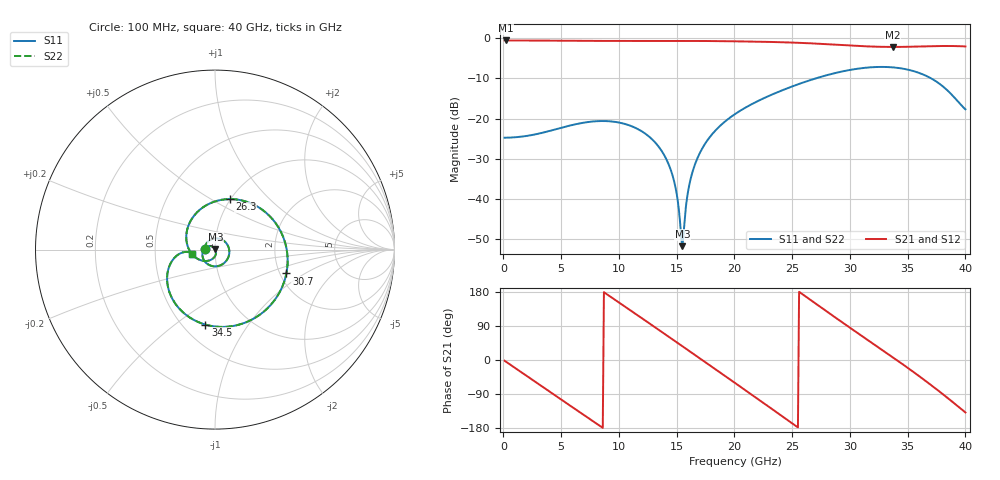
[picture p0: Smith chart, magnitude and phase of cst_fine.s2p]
! C_s8_ap1200: L1→L8, antipad Ø1.2 on every plane
! stackup: 8-layer 1.6 mm FR-4 (generic)
! ports: 1, 2
! CST Studio Suite 2025.5 Release from 2025-05-30, time domain (FIT, hexahedral, PBA), 386496 mesh cells, 72 s
! mesh: {'lpw': 30.0, 'lpb': 30.0, 'minstep': 0.0, 'ratio': 20}; ports: port 1 (face); port 2 (face)
! interpolated from CST's 1001 samples to the case grid
# Hz S RI R 50
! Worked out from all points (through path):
!   400 points, 100 MHz to 40 GHz, reference 50 ohm
!   highest |S21| = -0.52 dB at 200 MHz (marker M1); lowest = -2.1 dB at 33.7 GHz (marker M2)
!   group delay of S21, straight-line fit = 59.2 ps
!   lowest |S11| = -51.8 dB at 15.5 GHz (marker M3), VSWR 1.01, Z = 50.2 + j0.0772 ohm
!   |S11| at or under -10 dB: start of sweep to 27.02 GHz; 37.05 GHz to end of sweep
!   |S22| runs from -51.8 to -7.1 dB; largest |S21 - S12| = 4.2e-07
!   S11 on the Smith chart (normalised r, x): 100 MHz: 0.89, +0.01; 26.3 GHz: 0.99, +0.61; 30.7 GHz: 2.17, -0.70; 34.5 GHz: 0.64, -0.65; 40 GHz: 0.77, -0.04
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1e8  -0.0577 0.00362  0.941 -0.0344  0.941 -0.0344  -0.0577 0.00362
2e8  -0.0574 0.00723  0.9392 -0.0687  0.9392 -0.0687  -0.0574 0.00723
3.7e9  0.0437 0.0527  0.2059 -0.9139  0.2059 -0.9139  0.0437 0.0527
6.8e9  0.0648 -0.0598  -0.7307 -0.5764  -0.7307 -0.5764  0.0648 -0.0598
9.8e9  -0.0433 -0.0794  -0.8487 0.3786  -0.8487 0.3786  -0.0433 -0.0794
1.34e10  -0.0423 0.0166  0.1523 0.9192  0.1523 0.9192  -0.0423 0.0166
1.48e10  -0.00866 0.0135  0.5856 0.7245  0.5856 0.7245  -0.00866 0.0135
1.55e10  0.00245 0.000768  0.7509 0.5503  0.7509 0.5503  0.00246 0.000772
1.6e10  0.00599 -0.0112  0.8387 0.4026  0.8387 0.4026  0.006 -0.0112
1.67e10  0.0036 -0.0295  0.9126 0.1739  0.9126 0.1739  0.00361 -0.0295
2.01e10  -0.1055 -0.046  0.4365 -0.808  0.4365 -0.808  -0.1055 -0.046
2.27e10  -0.1584 0.0932  -0.4167 -0.8036  -0.4167 -0.8036  -0.1584 0.0932
2.46e10  -0.0807 0.2252  -0.8283 -0.3268  -0.8283 -0.3268  -0.0807 0.2252
2.63e10  0.0814 0.2815  -0.8404 0.2302  -0.8404 0.2302  0.0814 0.2815
2.67e10  0.1271 0.2783  -0.7912 0.3519  -0.7912 0.3519  0.1271 0.2783
2.87e10  0.3386 0.1464  -0.3255 0.7693  -0.3255 0.7693  0.3386 0.1464
3.07e10  0.3977 -0.1327  0.2689 0.7581  0.2689 0.7581  0.3977 -0.1327
3.34e10  0.1167 -0.4223  0.7598 0.1858  0.7598 0.1858  0.1167 -0.4223
3.37e10  0.0699 -0.4295  0.7754 0.1006  0.7754 0.1006  0.0699 -0.4295
3.45e10  -0.053 -0.418  0.772 -0.1321  0.772 -0.1321  -0.053 -0.418
3.75e10  -0.2626 -0.1194  0.1778 -0.7815  0.1778 -0.7815  -0.2626 -0.1194
4e10  -0.1286 -0.0227  -0.5932 -0.5263  -0.5932 -0.5263  -0.1286 -0.0227
